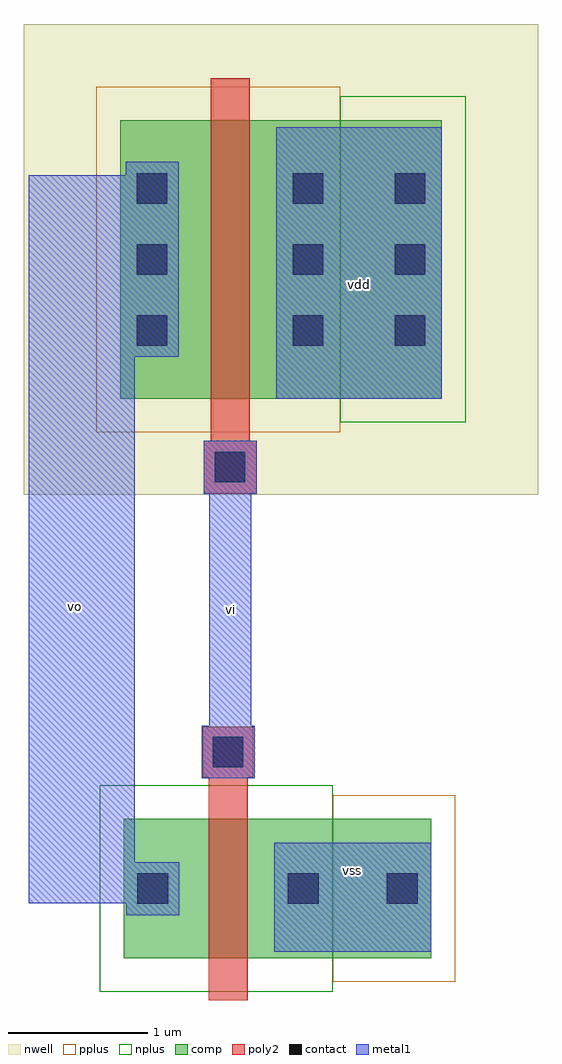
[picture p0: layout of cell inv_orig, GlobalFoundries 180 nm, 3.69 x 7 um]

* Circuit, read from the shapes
.subckt inv_orig vdd vi vo vss
XM1 vss vi vo vss nfet_03v3 w=1u l=0.28u
XM2 vdd vi vo vdd pfet_03v3 w=2u l=0.28u
.ends

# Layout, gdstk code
import gdstk
lib = gdstk.Library(unit=1e-6, precision=5e-09)
def R(c, l, rs):  # rectangles x0, y0, x1, y1
    for r in rs: c.add(gdstk.rectangle(r[:2], r[2:], *l))
def A(c, l, x, y, w, h, nx, ny, dx, dy):  # array of equal rectangles
    R(c, l, [(x+i*dx, y+j*dy, x+i*dx+w, y+j*dy+h) for i in range(nx) for j in range(ny)])
nwell = (21, 0)
comp = (22, 0)
poly2 = (30, 0)
pplus = (31, 0)
nplus = (32, 0)
contact = (33, 0)
metal1 = (34, 0)

nfet = lib.new_cell('nfet')
R(nfet, comp, [(-0.42,0,0,1), (0,0,0.66,1), (0.66,0,1.08,1), (1.08,0,1.79,1)])
R(nfet, poly2, [(0.19,-0.3,0.47,1.3), (0.15,1.3,0.51,1.66)])
R(nfet, pplus, [(1.08,-0.17,1.96,1.17)])
R(nfet, nplus, [(-0.59,-0.24,1.08,1.24)])
R(nfet, contact, [(-0.32,0.39,-0.1,0.61), (0.76,0.39,0.98,0.61), (1.47,0.39,1.69,0.61), (0.22,1.37,0.44,1.59)])
R(nfet, metal1, [(-0.4,0.31,-0.02,0.69), (0.68,0.31,1.06,0.69), (1.39,0.31,1.77,0.69), (0.14,1.29,0.52,1.67)])

pfet_1 = lib.new_cell('pfet$1')
R(pfet_1, nwell, [(-1.15,-0.69,2.54,2.69)])
R(pfet_1, comp, [(-0.46,0,0,2), (0,0,0.66,2), (0.66,0,1.12,2), (1.12,0,1.85,2)])
R(pfet_1, poly2, [(0.14,-0.68,0.52,-0.3), (0.19,-0.3,0.47,2.3)])
R(pfet_1, pplus, [(-0.63,-0.24,1.12,2.24)])
R(pfet_1, nplus, [(1.12,-0.17,2.02,2.17)])
A(pfet_1, contact, -0.34, 0.38, 0.22, 0.22, 1, 3, 0, 0.51)
A(pfet_1, contact, 0.78, 0.38, 0.22, 0.22, 1, 3, 0, 0.51)
A(pfet_1, contact, 1.51, 0.38, 0.22, 0.22, 1, 3, 0, 0.51)
R(pfet_1, contact, [(0.22,-0.6,0.44,-0.38)])
R(pfet_1, metal1, [(0.14,-0.68,0.52,-0.3), (-0.42,0.3,-0.04,1.7), (0.7,0.3,1.08,1.7), (1.43,0.3,1.81,1.7)])

inv_orig = lib.new_cell('inv_orig')
R(inv_orig, metal1, [(0.28,-0.205,1.41,0.58), (-1.48,0.145,-0.72,5.37), (0.295,3.765,1.485,5.715)])
inv_orig.add(gdstk.FlexPath([(-0.035,1.265),(-0.035,3.245)], 0.3, ends="flush", simple_path=True, layer=34, datatype=0))  # metal1
inv_orig.add(gdstk.Reference(nfet, (-0.38,-0.25)))
inv_orig.add(gdstk.Reference(pfet_1, (-0.365,3.765)))
inv_orig.add(gdstk.Label('vo', (-1.155,2.275), layer=34, texttype=10))
inv_orig.add(gdstk.Label('vss', (0.84,0.38), layer=34, texttype=10))
inv_orig.add(gdstk.Label('vdd', (0.89,4.585), layer=34, texttype=10))
inv_orig.add(gdstk.Label('vi', (-0.035,2.25), layer=34, texttype=10))

lib.write_gds('inv_orig.gds')
